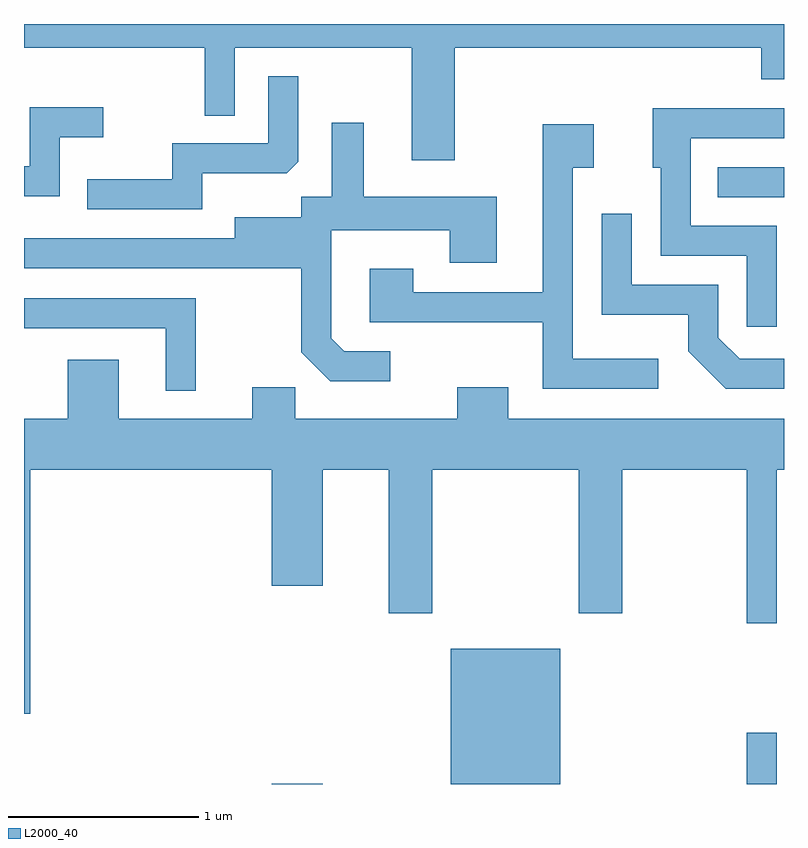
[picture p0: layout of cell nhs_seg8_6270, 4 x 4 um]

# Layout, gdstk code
import gdstk
lib = gdstk.Library(unit=1e-6, precision=1e-09)
def R(c, l, rs):  # rectangles x0, y0, x1, y1
    for r in rs: c.add(gdstk.rectangle(r[:2], r[2:], *l))
def P(c, l, *ps):  # polygons
    for p in ps: c.add(gdstk.Polygon(p, *l))
L2000_40 = (2000, 40)

nhs_seg8_6270 = lib.new_cell('nhs_seg8_6270')
R(nhs_seg8_6270, L2000_40, [(374.916,1810.342,375.184,1810.344), (375.856,1810.342,376.434,1811.054), (377.416,1810.342,377.574,1810.613), (377.263,1813.431,377.611,1813.589)])
P(nhs_seg8_6270, L2000_40, [(375.879,1814.216),(377.491,1814.216),(377.491,1814.051),(377.611,1814.051),(377.611,1814.342),(373.611,1814.342),(373.611,1814.216),(374.561,1814.216),(374.561,1813.858),(374.719,1813.858),(374.719,1814.216),(375.651,1814.216),(375.651,1813.626),(375.879,1813.626)],
  [(374.549,1813.556),(374.994,1813.556),(375.054,1813.617),(375.054,1814.068),(374.896,1814.068),(374.896,1813.714),(374.391,1813.714),(374.391,1813.524),(373.943,1813.524),(373.943,1813.366),(374.549,1813.366)],
  [(373.799,1813.746),(374.028,1813.746),(374.028,1813.904),(373.641,1813.904),(373.641,1813.594),(373.611,1813.594),(373.611,1813.436),(373.799,1813.436)],
  [(377.574,1813.279),(377.119,1813.279),(377.119,1813.741),(377.611,1813.741),(377.611,1813.899),(376.921,1813.899),(376.921,1813.586),(376.961,1813.586),(376.961,1813.121),(377.416,1813.121),(377.416,1812.748),(377.574,1812.748)],
  [(375.538,1812.619),(375.297,1812.619),(375.229,1812.687),(375.229,1813.256),(375.851,1813.256),(375.851,1813.086),(376.099,1813.086),(376.099,1813.434),(375.399,1813.434),(375.399,1813.823),(375.231,1813.823),(375.231,1813.434),(375.071,1813.434),(375.071,1813.324),(374.721,1813.324),(374.721,1813.214),(373.611,1813.214),(373.611,1813.056),(375.071,1813.056),(375.071,1812.614),(375.224,1812.461),(375.538,1812.461)],
  [(376.948,1812.579),(376.499,1812.579),(376.499,1813.586),(376.609,1813.586),(376.609,1813.814),(376.341,1813.814),(376.341,1812.929),(375.659,1812.929),(375.659,1813.054),(375.431,1813.054),(375.431,1812.771),(376.341,1812.771),(376.341,1812.421),(376.948,1812.421)],
  [(377.611,1812.579),(377.377,1812.579),(377.264,1812.692),(377.264,1812.969),(376.809,1812.969),(376.809,1813.343),(376.651,1813.343),(376.651,1812.811),(377.106,1812.811),(377.106,1812.619),(377.304,1812.421),(377.611,1812.421)],
  [(374.514,1812.899),(373.611,1812.899),(373.611,1812.741),(374.356,1812.741),(374.356,1812.413),(374.514,1812.413)],
  [(373.644,1811.996),(374.916,1811.996),(374.916,1811.386),(375.184,1811.386),(375.184,1811.996),(375.531,1811.996),(375.531,1811.241),(375.759,1811.241),(375.759,1811.996),(376.531,1811.996),(376.531,1811.241),(376.759,1811.241),(376.759,1811.996),(377.416,1811.996),(377.416,1811.188),(377.574,1811.188),(377.574,1811.996),(377.611,1811.996),(377.611,1812.264),(376.159,1812.264),(376.159,1812.429),(375.891,1812.429),(375.891,1812.264),(375.039,1812.264),(375.039,1812.429),(374.811,1812.429),(374.811,1812.264),(374.109,1812.264),(374.109,1812.574),(373.841,1812.574),(373.841,1812.264),(373.611,1812.264),(373.611,1810.711),(373.644,1810.711)])

lib.write_gds('nhs_seg8_6270.gds')
